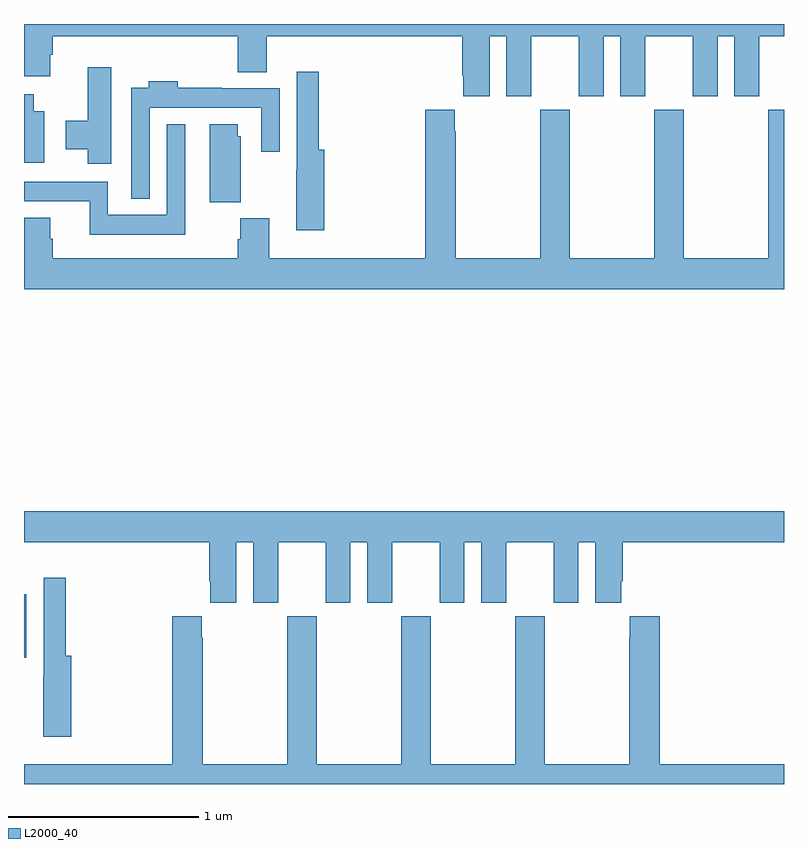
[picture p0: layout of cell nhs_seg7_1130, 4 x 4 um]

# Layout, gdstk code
import gdstk
lib = gdstk.Library(unit=1e-6, precision=1e-09)
def R(c, l, rs):  # rectangles x0, y0, x1, y1
    for r in rs: c.add(gdstk.rectangle(r[:2], r[2:], *l))
def P(c, l, *ps):  # polygons
    for p in ps: c.add(gdstk.Polygon(p, *l))
L2000_40 = (2000, 40)

nhs_seg7_1130 = lib.new_cell('nhs_seg7_1130')
R(nhs_seg7_1130, L2000_40, [(191,1010.664,191.013,1010.998)])
P(nhs_seg7_1130, L2000_40, [(191,1013.724),(191.137,1013.724),(191.137,1013.838),(191.15,1013.838),(191.15,1013.936),(192.125,1013.936),(192.125,1013.747),(192.277,1013.747),(192.277,1013.936),(193.307,1013.936),(193.307,1013.731),(193.313,1013.731),(193.313,1013.619),(193.45,1013.619),(193.45,1013.936),(193.538,1013.936),(193.538,1013.619),(193.669,1013.619),(193.669,1013.936),(193.919,1013.936),(193.919,1013.619),(194.05,1013.619),(194.05,1013.936),(194.138,1013.936),(194.138,1013.619),(194.269,1013.619),(194.269,1013.936),(194.519,1013.936),(194.519,1013.619),(194.65,1013.619),(194.65,1013.936),(194.738,1013.936),(194.738,1013.619),(194.869,1013.619),(194.869,1013.936),(195,1013.936),(195,1014),(191,1014)],
  [(191.458,1013.773),(191.336,1013.773),(191.336,1013.49),(191.219,1013.49),(191.219,1013.342),(191.336,1013.342),(191.336,1013.265),(191.458,1013.265)],
  [(192.581,1013.338),(192.551,1013.338),(192.551,1013.749),(192.435,1013.749),(192.435,1013.234),(192.434,1013.234),(192.434,1012.914),(192.581,1012.914)],
  [(191.661,1013.558),(192.249,1013.558),(192.249,1013.328),(192.345,1013.328),(192.345,1013.662),(192.041,1013.662),(192.041,1013.665),(191.81,1013.665),(191.81,1013.698),(191.657,1013.698),(191.657,1013.665),(191.565,1013.665),(191.565,1013.081),(191.661,1013.081)],
  [(191.107,1013.542),(191.05,1013.542),(191.05,1013.629),(191,1013.629),(191,1013.27),(191.107,1013.27)],
  [(195,1013.548),(194.917,1013.548),(194.917,1012.768),(194.472,1012.768),(194.472,1013.548),(194.317,1013.548),(194.317,1012.768),(193.872,1012.768),(193.872,1013.548),(193.717,1013.548),(193.717,1012.768),(193.272,1012.768),(193.272,1013.435),(193.267,1013.435),(193.267,1013.548),(193.112,1013.548),(193.112,1012.768),(192.29,1012.768),(192.29,1012.977),(192.137,1012.977),(192.137,1012.868),(192.125,1012.868),(192.125,1012.768),(191.15,1012.768),(191.15,1012.869),(191.137,1012.869),(191.137,1012.981),(191,1012.981),(191,1012.604),(195,1012.604)],
  [(191.848,1013.473),(191.751,1013.473),(191.751,1012.996),(191.442,1012.996),(191.442,1013.17),(191,1013.17),(191,1013.066),(191.345,1013.066),(191.345,1012.892),(191.848,1012.892)],
  [(192.142,1013.409),(192.124,1013.409),(192.124,1013.473),(191.978,1013.473),(191.978,1013.062),(192.142,1013.062)],
  [(192.118,1011.272),(192.206,1011.272),(192.206,1010.955),(192.337,1010.955),(192.337,1011.272),(192.587,1011.272),(192.587,1010.955),(192.718,1010.955),(192.718,1011.272),(192.806,1011.272),(192.806,1010.955),(192.937,1010.955),(192.937,1011.272),(193.187,1011.272),(193.187,1010.955),(193.318,1010.955),(193.318,1011.272),(193.406,1011.272),(193.406,1010.955),(193.537,1010.955),(193.537,1011.272),(193.787,1011.272),(193.787,1010.955),(193.918,1010.955),(193.918,1011.272),(194.006,1011.272),(194.006,1010.955),(194.143,1010.955),(194.143,1011.067),(194.15,1011.067),(194.15,1011.272),(195,1011.272),(195,1011.436),(191,1011.436),(191,1011.272),(191.975,1011.272),(191.975,1011.067),(191.981,1011.067),(191.981,1010.955),(192.118,1010.955)],
  [(191.249,1010.674),(191.219,1010.674),(191.219,1011.085),(191.103,1011.085),(191.103,1010.57),(191.102,1010.57),(191.102,1010.25),(191.249,1010.25)],
  [(195,1010.104),(194.345,1010.104),(194.345,1010.884),(194.189,1010.884),(194.189,1010.771),(194.185,1010.771),(194.185,1010.104),(193.74,1010.104),(193.74,1010.884),(193.585,1010.884),(193.585,1010.104),(193.14,1010.104),(193.14,1010.884),(192.985,1010.884),(192.985,1010.104),(192.54,1010.104),(192.54,1010.884),(192.385,1010.884),(192.385,1010.104),(191.94,1010.104),(191.94,1010.771),(191.935,1010.771),(191.935,1010.884),(191.78,1010.884),(191.78,1010.104),(191,1010.104),(191,1010),(195,1010)])

lib.write_gds('nhs_seg7_1130.gds')
